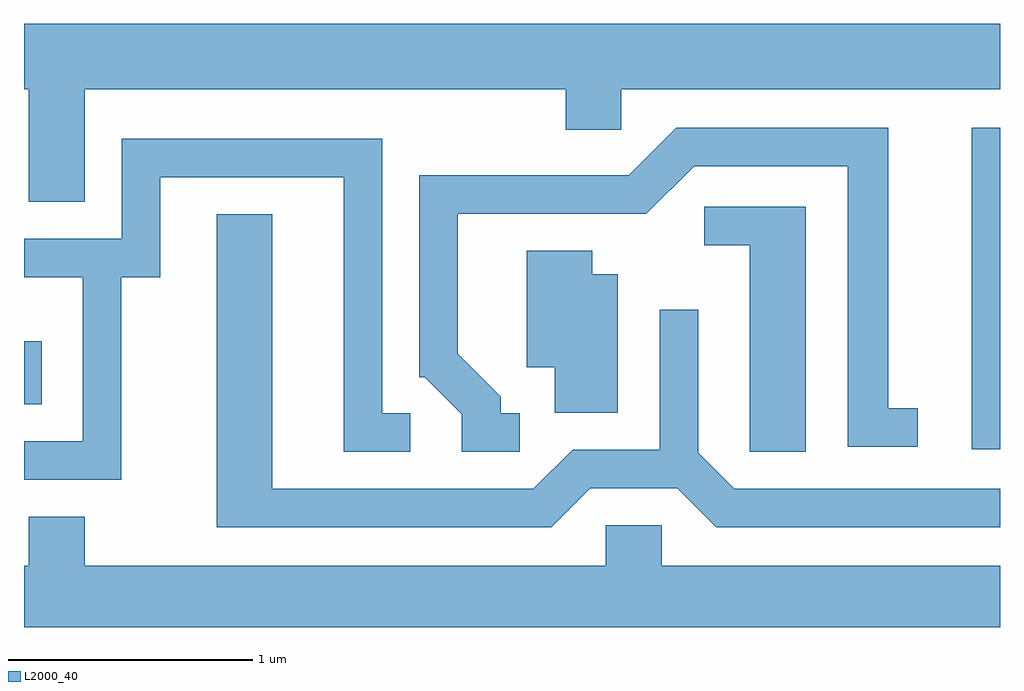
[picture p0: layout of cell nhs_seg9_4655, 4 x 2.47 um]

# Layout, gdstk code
import gdstk
lib = gdstk.Library(unit=1e-6, precision=1e-09)
def R(c, l, rs):  # rectangles x0, y0, x1, y1
    for r in rs: c.add(gdstk.rectangle(r[:2], r[2:], *l))
def P(c, l, *ps):  # polygons
    for p in ps: c.add(gdstk.Polygon(p, *l))
L2000_40 = (2000, 40)

nhs_seg9_4655 = lib.new_cell('nhs_seg9_4655')
R(nhs_seg9_4655, L2000_40, [(325.496,2059.161,325.611,2060.479), (321.611,2059.346,321.684,2059.604)])
P(nhs_seg9_4655, L2000_40, [(321.859,2060.636),(323.831,2060.636),(323.831,2060.471),(324.059,2060.471),(324.059,2060.636),(325.611,2060.636),(325.611,2060.904),(321.611,2060.904),(321.611,2060.636),(321.631,2060.636),(321.631,2060.176),(321.859,2060.176)],
  [(323.643,2059.309),(323.564,2059.309),(323.564,2059.376),(323.389,2059.552),(323.389,2060.126),(324.162,2060.126),(324.357,2060.321),(324.986,2060.321),(324.986,2059.171),(325.273,2059.171),(325.273,2059.329),(325.154,2059.329),(325.154,2060.479),(324.284,2060.479),(324.089,2060.284),(323.231,2060.284),(323.231,2059.456),(323.254,2059.456),(323.406,2059.304),(323.406,2059.151),(323.643,2059.151)],
  [(322.009,2059.866),(322.169,2059.866),(322.169,2060.276),(322.921,2060.276),(322.921,2059.151),(323.193,2059.151),(323.193,2059.309),(323.079,2059.309),(323.079,2060.434),(322.011,2060.434),(322.011,2060.024),(321.611,2060.024),(321.611,2059.866),(321.851,2059.866),(321.851,2059.194),(321.611,2059.194),(321.611,2059.036),(322.009,2059.036)],
  [(324.814,2060.154),(324.398,2060.154),(324.398,2059.996),(324.586,2059.996),(324.586,2059.151),(324.814,2059.151)],
  [(323.932,2059.001),(324.289,2059.001),(324.449,2058.841),(325.611,2058.841),(325.611,2058.999),(324.522,2058.999),(324.374,2059.146),(324.374,2059.733),(324.216,2059.733),(324.216,2059.159),(323.859,2059.159),(323.699,2058.999),(322.629,2058.999),(322.629,2060.124),(322.401,2060.124),(322.401,2058.841),(323.772,2058.841)],
  [(324.044,2059.879),(323.939,2059.879),(323.939,2059.974),(323.671,2059.974),(323.671,2059.496),(323.786,2059.496),(323.786,2059.311),(324.044,2059.311)],
  [(325.611,2058.684),(324.224,2058.684),(324.224,2058.849),(323.996,2058.849),(323.996,2058.684),(321.859,2058.684),(321.859,2058.884),(321.631,2058.884),(321.631,2058.684),(321.611,2058.684),(321.611,2058.432),(325.611,2058.432)])

lib.write_gds('nhs_seg9_4655.gds')
